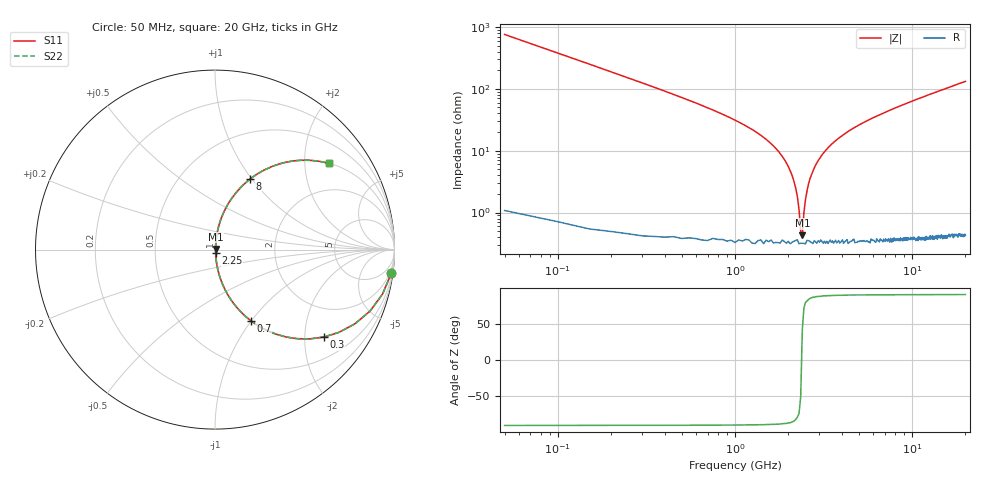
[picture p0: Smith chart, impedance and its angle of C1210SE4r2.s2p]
! AVX Thin Film Operation		Date: April 2012
! Description: Accu-P® Series, Thin Film, SMD, RF Capacitor
! Part Number: 12101J4R2ABTTR
!	100	MHz	-	20.05	GHz
!	Serial	Measurements
#	MHZ	S	MA	R	50
!	S11	S21	S12	S22
!	dB	Phase	dB	Phase	dB	Phase	dB	Phase
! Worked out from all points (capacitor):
!   400 points, 50 MHz to 20 GHz, reference 50 ohm
!   read as one part in series: C = 4.2 pF near 150 MHz
!   lowest |Z| = 429 mohm at 2.4 GHz (marker M1)
!   series resonance near 2.379 GHz, so ESL is about 1.1 nH
!   S11 on the Smith chart (normalised r, x): 50 MHz: 1, -15; 300 MHz: 1.01, -2.49; 700 MHz: 1.01, -0.99; 2.25 GHz: 1.01, -0.04; 8 GHz: 1.01, +0.98; 20 GHz: 1.01, +2.64
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50  0.991 -7.5  0.131 82.4  0.131 82.4  0.991 -7.5
100  0.966 -14.8  0.255 75.1  0.255 75.1  0.966 -14.8
150  0.929 -21.7  0.369 68.2  0.369 68.2  0.929 -21.7
300  0.778 -38.7  0.626 51.1  0.626 51.1  0.778 -38.7
700  0.442 -63.4  0.894 26.2  0.894 26.2  0.442 -63.4
1750  0.099 -82.4  0.992 5.7  0.992 5.7  0.099 -82.4
2100  0.04 -82.9  0.996 2.3  0.996 2.3  0.04 -82.9
2250  0.018 -78.2  0.996 1.0  0.996 1.0  0.018 -78.2
2350  0.005093 -48.5  0.997 0.2  0.997 0.2  0.005093 -48.5
2400  0.004413 40.2  0.997 -0.2  0.997 -0.2  0.004413 40.2
2450  0.009991 69.8  0.997 -0.5  0.997 -0.5  0.009991 69.8
2500  0.016 77.1  0.997 -0.9  0.997 -0.9  0.016 77.1
2650  0.035 82.4  0.996 -2.0  0.996 -2.0  0.035 82.4
2950  0.069 83.3  0.994 -3.9  0.994 -3.9  0.069 83.3
3400  0.115 81.7  0.99 -6.6  0.99 -6.6  0.115 81.7
4600  0.22 76.4  0.972 -12.7  0.972 -12.7  0.22 76.4
6700  0.364 68.1  0.928 -21.3  0.928 -21.3  0.364 68.1
8000  0.438 63.6  0.896 -26.0  0.896 -26.0  0.438 63.6
10050  0.535 57.3  0.842 -32.3  0.842 -32.3  0.535 57.3
13350  0.653 49.0  0.754 -40.8  0.754 -40.8  0.653 49.0
16700  0.737 42.3  0.673 -47.5  0.673 -47.5  0.737 42.3
20000  0.796 37.1  0.603 -52.7  0.603 -52.7  0.796 37.1
